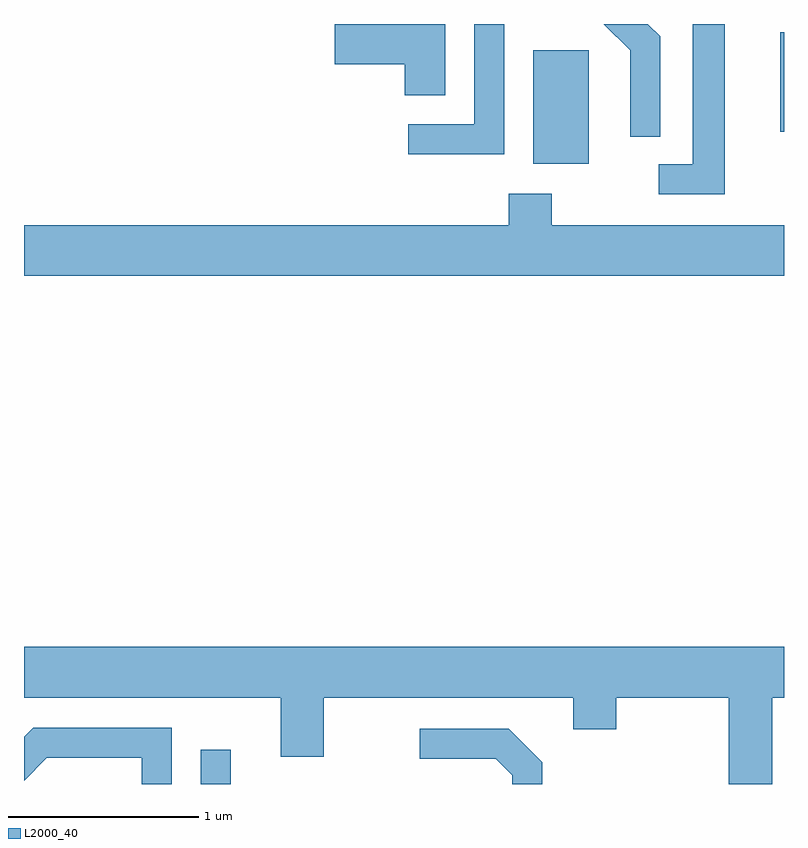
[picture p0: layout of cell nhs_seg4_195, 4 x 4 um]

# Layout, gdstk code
import gdstk
lib = gdstk.Library(unit=1e-6, precision=1e-09)
def R(c, l, rs):  # rectangles x0, y0, x1, y1
    for r in rs: c.add(gdstk.rectangle(r[:2], r[2:], *l))
def P(c, l, *ps):  # polygons
    for p in ps: c.add(gdstk.Polygon(p, *l))
L2000_40 = (2000, 40)

nhs_seg4_195 = lib.new_cell('nhs_seg4_195')
R(nhs_seg4_195, L2000_40, [(190.541,1371.982,190.699,1372.163), (192.291,1375.246,192.584,1375.844), (193.591,1375.416,193.611,1375.939)])
P(nhs_seg4_195, L2000_40, [(191.829,1375.982),(191.246,1375.982),(191.246,1375.771),(191.616,1375.771),(191.616,1375.606),(191.829,1375.606)],
  [(193.299,1375.982),(193.131,1375.982),(193.131,1375.244),(192.953,1375.244),(192.953,1375.086),(193.299,1375.086)],
  [(192.139,1375.982),(191.981,1375.982),(191.981,1375.454),(191.633,1375.454),(191.633,1375.296),(192.139,1375.296)],
  [(192.959,1375.917),(192.894,1375.982),(192.663,1375.982),(192.801,1375.844),(192.801,1375.388),(192.959,1375.388)],
  [(193.611,1374.924),(192.389,1374.924),(192.389,1375.089),(192.161,1375.089),(192.161,1374.924),(189.611,1374.924),(189.611,1374.656),(193.611,1374.656)],
  [(193.549,1372.436),(193.611,1372.436),(193.611,1372.704),(189.611,1372.704),(189.611,1372.436),(190.961,1372.436),(190.961,1372.126),(191.189,1372.126),(191.189,1372.436),(192.501,1372.436),(192.501,1372.271),(192.729,1372.271),(192.729,1372.436),(193.321,1372.436),(193.321,1371.982),(193.549,1371.982)],
  [(190.389,1372.279),(189.659,1372.279),(189.611,1372.231),(189.611,1372),(189.732,1372.121),(190.231,1372.121),(190.231,1371.982),(190.389,1371.982)],
  [(192.339,1372.097),(192.162,1372.274),(191.693,1372.274),(191.693,1372.116),(192.094,1372.116),(192.181,1372.029),(192.181,1371.982),(192.339,1371.982)])

lib.write_gds('nhs_seg4_195.gds')
